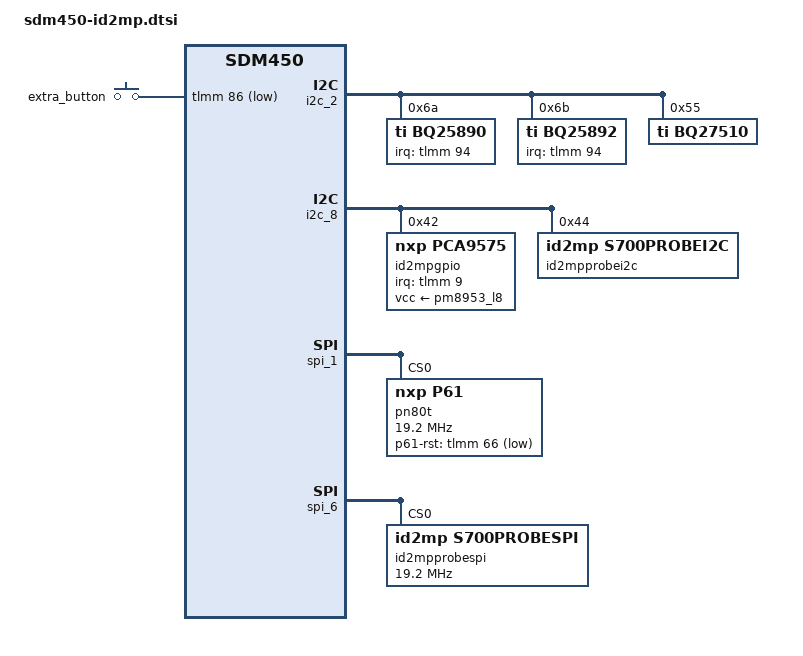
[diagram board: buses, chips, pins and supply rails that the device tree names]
/* ID2MP specific devices */

&soc {
	gpio_keys {
		extra_button {
			label = "extra_button";
			gpios = <&tlmm 86 0x1>;
			linux,input-type = <1>;
			linux,code = <0x210>;
			debounce-interval = <15>;
			linux,can-disable;
			gpio-key,wakeup;
		};
	};
};

&tlmm {
	id2mpgpio_int_pin {
		label = "id2mpgpio-irq";
		id2mpgpio_int_active: id2mpgpio_int_active {
			mux {
				pins = "gpio9";
				function = "gpio";
			};

			config {
				pins = "gpio9";
				drive-strength = <6>;
				bias-pull-up;
			};
		};

		id2mpgpio_int_suspend: id2mpgpio_int_suspend {
			mux {
				pins = "gpio9";
				function = "gpio";
			};

			config {
				pins = "gpio9";
				drive-strength = <2>;
				bias-pull-down;
			};
		};
	};
};

&i2c_2 {
	status = "ok";

	bq25890: bq25890 {
		compatible = "ti,bq25890";
		reg = <0x6a>;
		interrupt-parent = <&tlmm>;
		/* edge high-to-low */
		interrupts = <94 0x02>;
		/*interrupts = <94 0x08>;*/

		ti,battery-regulation-voltage = <4208000>;
		ti,charge-current = <2496000>;
		ti,termination-current = <256000>;
		ti,precharge-current = <128000>;
		ti,minimum-sys-voltage = <3500000>;
		ti,boost-voltage = <5000000>;
		ti,boost-max-current = <1200000>;
		ti,use-ilim-pin;
		ti,thermal-regulation-threshold = <120>;
	};

	bq25892: bq25892 {
		compatible = "ti,bq25892";
		reg = <0x6b>;
		interrupt-parent = <&tlmm>;
		/* edge high-to-low */
		interrupts = <94 0x02>;
		/*interrupts = <94 0x08>;*/

		ti,battery-regulation-voltage = <4192000>;
		ti,charge-current = <2560000>;
		ti,termination-current = <512000>;
		ti,precharge-current = <128000>;
		ti,minimum-sys-voltage = <3500000>;
		ti,boost-voltage = <5000000>;
		ti,boost-max-current = <1200000>;
		ti,use-ilim-pin;
		ti,thermal-regulation-threshold = <120>;
	};

	bq27510: bq27510 {
		compatible = "ti,bq27510";
		reg = <0x55>;
	};
};

&i2c_8 {
	status = "ok";

	id2mpgpio: id2mpgpio@42 {
		compatible = "nxp,pca9575";
		reg = <0x42>;
		pinctrl-names = "default", "sleep";
		pinctrl-0 = <&id2mpgpio_int_active>;
		pinctrl-1 = <&id2mpgpio_int_suspend>;

		vcc-supply = <&pm8953_l8>;

		interrupt-parent = <&tlmm>;
		interrupts = <9 0x08>;

		gpio-controller;
		#gpio-cells = <2>;
		interrupt-controller;
		#interrupt-cells = <2>;
	};

	id2mpprobei2c: id2mpprobei2c@44 {
		compatible = "id2mp,s700probei2c", "id2mp,probei2c";
		reg = <0x44>;
	};
};

&spi_1 {
	status = "ok";

	pn80t@0 {
		compatible = "nxp,p61";
		reg = <0>;
		spi-max-frequency = <19200000>;
		nxp,p61-rst = <&tlmm 66 GPIO_ACTIVE_LOW>;
	};
};

&spi_6 {
	status = "ok";

	id2mpprobespi: id2mpprobespi@0 {
		compatible = "id2mp,s700probespi", "id2mp,probespi";
		reg = <0>;
		spi-max-frequency = <19200000>;
	};
};
